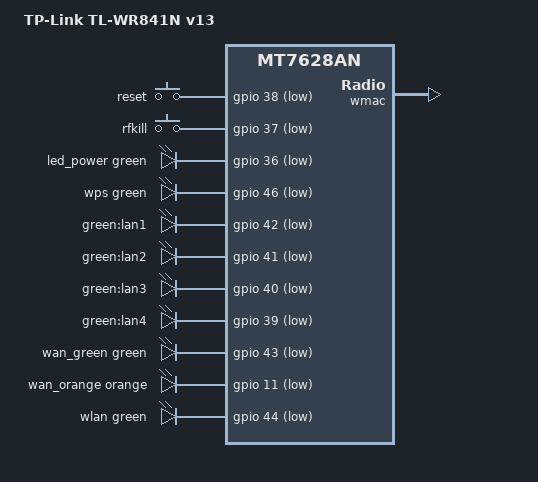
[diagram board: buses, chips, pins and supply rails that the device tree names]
#include <dt-bindings/leds/common.h>

#include "mt7628an_tplink_8m.dtsi"

/ {
	compatible = "tplink,tl-wr841n-v13", "mediatek,mt7628an-soc";
	model = "TP-Link TL-WR841N v13";

	aliases {
		led-boot = &led_power;
		led-failsafe = &led_power;
		led-running = &led_power;
		led-upgrade = &led_power;
	};

	keys {
		compatible = "gpio-keys";

		reset {
			label = "reset";
			gpios = <&gpio 38 GPIO_ACTIVE_LOW>;
			linux,code = <KEY_RESTART>;
		};

		rfkill {
			label = "rfkill";
			gpios = <&gpio 37 GPIO_ACTIVE_LOW>;
			linux,code = <KEY_RFKILL>;
		};
	};

	leds {
		compatible = "gpio-leds";

		led_power: power {
			function = LED_FUNCTION_POWER;
			color = <LED_COLOR_ID_GREEN>;
			gpios = <&gpio 36 GPIO_ACTIVE_LOW>;
		};

		wps {
			function = LED_FUNCTION_WPS;
			color = <LED_COLOR_ID_GREEN>;
			gpios = <&gpio 46 GPIO_ACTIVE_LOW>;
		};

		lan1 {
			label = "green:lan1";
			gpios = <&gpio 42 GPIO_ACTIVE_LOW>;
		};

		lan2 {
			label = "green:lan2";
			gpios = <&gpio 41 GPIO_ACTIVE_LOW>;
		};

		lan3 {
			label = "green:lan3";
			gpios = <&gpio 40 GPIO_ACTIVE_LOW>;
		};

		lan4 {
			label = "green:lan4";
			gpios = <&gpio 39 GPIO_ACTIVE_LOW>;
		};

		wan_green {
			function = LED_FUNCTION_WAN;
			color = <LED_COLOR_ID_GREEN>;
			gpios = <&gpio 43 GPIO_ACTIVE_LOW>;
		};

		wan_orange {
			function = LED_FUNCTION_WAN;
			color = <LED_COLOR_ID_ORANGE>;
			gpios = <&gpio 11 GPIO_ACTIVE_LOW>;
		};

		wlan {
			function = LED_FUNCTION_WLAN;
			color = <LED_COLOR_ID_GREEN>;
			gpios = <&gpio 44 GPIO_ACTIVE_LOW>;
		};
	};
};

&ehci {
	status = "disabled";
};

&ohci {
	status = "disabled";
};

&state_default {
	gpio {
		groups = "gpio", "p0led_an", "p1led_an", "p2led_an", "p3led_an", "p4led_an", "perst", "refclk", "uart1", "wdt", "wled_an";
		function = "gpio";
	};
};

&wmac {
	status = "okay";

	nvmem-cells = <&eeprom_factory_20000>, <&macaddr_factory_f100 0>;
	nvmem-cell-names = "eeprom", "mac-address";
};

&ethernet {
	nvmem-cells = <&macaddr_factory_f100 0>;
	nvmem-cell-names = "mac-address";
};

&esw {
	mediatek,portmap = <0x3e>;
};
